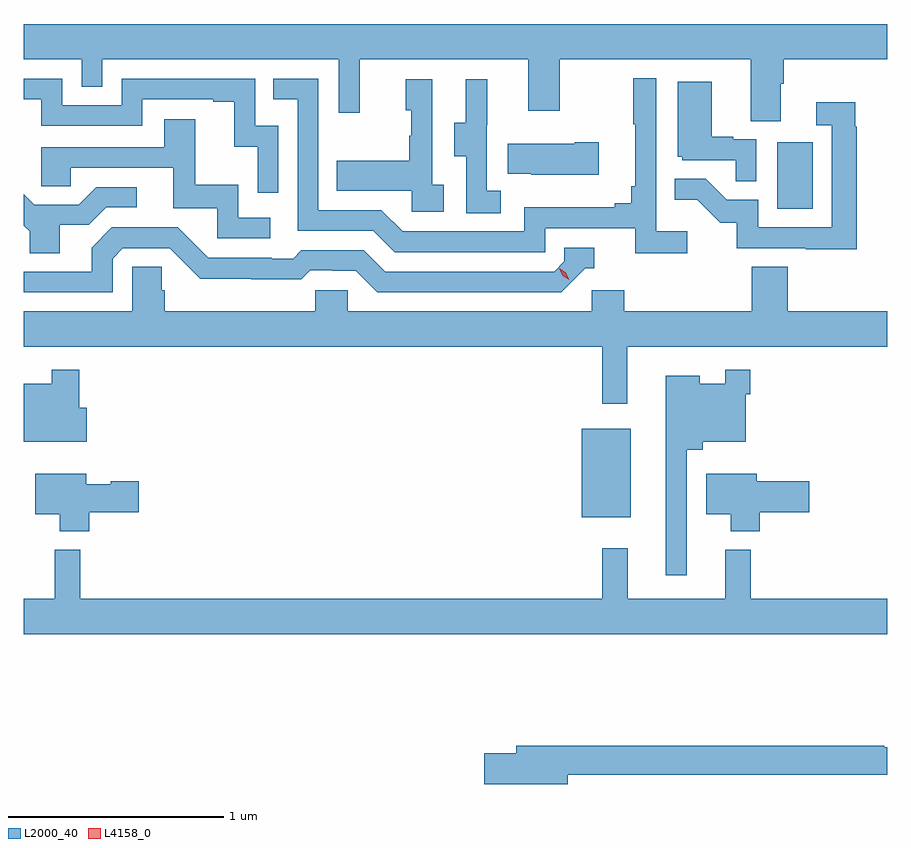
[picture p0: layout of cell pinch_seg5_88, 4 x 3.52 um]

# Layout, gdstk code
import gdstk
lib = gdstk.Library(unit=1e-6, precision=1e-09)
def R(c, l, rs):  # rectangles x0, y0, x1, y1
    for r in rs: c.add(gdstk.rectangle(r[:2], r[2:], *l))
def P(c, l, *ps):  # polygons
    for p in ps: c.add(gdstk.Polygon(p, *l))
L2000_40 = (2000, 40)
L4158_0 = (4158, 0)

pinch_seg5_88 = lib.new_cell('pinch_seg5_88')
R(pinch_seg5_88, L2000_40, [(1050.458,897.263,1050.685,897.673), (1051.364,898.692,1051.528,898.999)])
P(pinch_seg5_88, L2000_40, [(1051.381,899.272),(1051.394,899.272),(1051.394,899.384),(1051.873,899.384),(1051.873,899.548),(1047.873,899.548),(1047.873,899.384),(1048.14,899.384),(1048.14,899.257),(1048.236,899.257),(1048.236,899.384),(1049.331,899.384),(1049.331,899.136),(1049.429,899.136),(1049.429,899.384),(1050.209,899.384),(1050.209,899.145),(1050.357,899.145),(1050.357,899.384),(1051.241,899.384),(1051.241,899.098),(1051.381,899.098)],
  [(1050.946,898.588),(1050.804,898.588),(1050.804,899.296),(1050.696,899.296),(1050.696,899.083),(1050.707,899.083),(1050.707,898.795),(1050.688,898.795),(1050.688,898.718),(1050.611,898.718),(1050.611,898.699),(1050.192,898.699),(1050.192,898.587),(1049.628,898.587),(1049.529,898.686),(1049.238,898.686),(1049.238,899.295),(1049.029,899.295),(1049.029,899.199),(1049.142,899.199),(1049.142,898.59),(1049.492,898.59),(1049.591,898.491),(1050.288,898.491),(1050.288,898.602),(1050.707,898.602),(1050.707,898.486),(1050.946,898.486)],
  [(1049.052,899.076),(1048.944,899.076),(1048.944,899.295),(1048.326,899.295),(1048.326,899.172),(1048.05,899.172),(1048.05,899.295),(1047.873,899.295),(1047.873,899.199),(1047.954,899.199),(1047.954,899.076),(1048.422,899.076),(1048.422,899.199),(1048.751,899.199),(1048.751,899.187),(1048.847,899.187),(1048.847,898.979),(1048.956,898.979),(1048.956,898.767),(1049.052,898.767)],
  [(1049.818,898.802),(1049.766,898.802),(1049.766,899.293),(1049.642,899.293),(1049.642,899.148),(1049.668,899.148),(1049.668,899.03),(1049.658,899.03),(1049.658,898.915),(1049.323,898.915),(1049.323,898.775),(1049.67,898.775),(1049.67,898.677),(1049.818,898.677)],
  [(1050.082,898.775),(1050.018,898.775),(1050.018,899.079),(1050.02,899.079),(1050.02,899.293),(1049.921,899.293),(1049.921,899.091),(1049.867,899.091),(1049.867,898.936),(1049.922,898.936),(1049.922,898.672),(1050.082,898.672)],
  [(1051.266,899.013),(1051.16,899.013),(1051.16,899.026),(1051.06,899.026),(1051.06,899.281),(1050.902,899.281),(1050.902,898.932),(1050.924,898.932),(1050.924,898.917),(1051.171,898.917),(1051.171,898.819),(1051.266,898.819)],
  [(1051.733,899.072),(1051.726,899.072),(1051.726,899.185),(1051.545,899.185),(1051.545,899.079),(1051.617,899.079),(1051.617,898.605),(1051.275,898.605),(1051.275,898.734),(1051.131,898.734),(1051.033,898.832),(1050.889,898.832),(1050.889,898.733),(1050.993,898.733),(1051.1,898.626),(1051.177,898.626),(1051.177,898.509),(1051.495,898.509),(1051.495,898.504),(1051.733,898.504)],
  [(1049.014,898.65),(1048.866,898.65),(1048.866,898.804),(1048.667,898.804),(1048.667,899.107),(1048.523,899.107),(1048.523,898.977),(1047.954,898.977),(1047.954,898.797),(1048.091,898.797),(1048.091,898.881),(1048.565,898.881),(1048.565,898.695),(1048.77,898.695),(1048.77,898.554),(1049.014,898.554)],
  [(1050.538,899.001),(1050.425,899.001),(1050.425,898.993),(1050.115,898.993),(1050.115,898.853),(1050.223,898.853),(1050.223,898.85),(1050.538,898.85)],
  [(1048.039,898.618),(1048.174,898.618),(1048.254,898.698),(1048.396,898.698),(1048.396,898.791),(1048.208,898.791),(1048.127,898.71),(1047.921,898.71),(1047.873,898.758),(1047.873,898.614),(1047.899,898.588),(1047.899,898.486),(1048.039,898.486)],
  [(1048.284,898.461),(1048.332,898.509),(1048.548,898.509),(1048.69,898.367),(1048.926,898.367),(1048.926,898.365),(1049.159,898.365),(1049.201,898.407),(1049.304,898.407),(1049.304,898.404),(1049.411,898.404),(1049.51,898.305),(1050.363,898.305),(1050.474,898.416),(1050.517,898.416),(1050.517,898.512),(1050.378,898.512),(1050.378,898.449),(1050.33,898.401),(1049.547,898.401),(1049.448,898.5),(1049.159,898.5),(1049.12,898.461),(1049.021,898.461),(1049.021,898.464),(1048.728,898.464),(1048.587,898.605),(1048.281,898.605),(1048.187,898.511),(1048.187,898.401),(1047.873,898.401),(1047.873,898.305),(1048.284,898.305)],
  [(1050.67,898.052),(1051.873,898.052),(1051.873,898.216),(1051.412,898.216),(1051.412,898.424),(1051.247,898.424),(1051.247,898.216),(1050.656,898.216),(1050.656,898.314),(1050.504,898.314),(1050.504,898.216),(1049.373,898.216),(1049.373,898.314),(1049.223,898.314),(1049.223,898.216),(1048.526,898.216),(1048.526,898.314),(1048.511,898.314),(1048.511,898.424),(1048.374,898.424),(1048.374,898.216),(1047.873,898.216),(1047.873,898.052),(1050.553,898.052),(1050.553,897.789),(1050.67,897.789)],
  [(1048.165,897.769),(1048.13,897.769),(1048.13,897.946),(1048.002,897.946),(1048.002,897.88),(1047.873,897.88),(1047.873,897.611),(1048.165,897.611)],
  [(1050.945,897.575),(1051.019,897.575),(1051.019,897.611),(1051.218,897.611),(1051.218,897.833),(1051.238,897.833),(1051.238,897.946),(1051.122,897.946),(1051.122,897.88),(1051.006,897.88),(1051.006,897.919),(1050.848,897.919),(1050.848,896.994),(1050.945,896.994)],
  [(1051.283,897.286),(1051.513,897.286),(1051.513,897.428),(1051.27,897.428),(1051.27,897.463),(1051.034,897.463),(1051.034,897.275),(1051.148,897.275),(1051.148,897.197),(1051.283,897.197)],
  [(1048.175,897.286),(1048.405,897.286),(1048.405,897.428),(1048.275,897.428),(1048.275,897.415),(1048.162,897.415),(1048.162,897.463),(1047.926,897.463),(1047.926,897.275),(1048.04,897.275),(1048.04,897.197),(1048.175,897.197)],
  [(1051.873,896.884),(1051.241,896.884),(1051.241,897.112),(1051.124,897.112),(1051.124,896.884),(1050.671,896.884),(1050.671,897.118),(1050.553,897.118),(1050.553,896.884),(1048.133,896.884),(1048.133,897.112),(1048.016,897.112),(1048.016,896.884),(1047.873,896.884),(1047.873,896.72),(1051.873,896.72)],
  [(1050.394,896.068),(1051.873,896.068),(1051.873,896.197),(1051.859,896.197),(1051.859,896.204),(1050.155,896.204),(1050.155,896.168),(1050.006,896.168),(1050.006,896.026),(1050.394,896.026)])
P(pinch_seg5_88, L4158_0, [(1050.4,898.362),(1050.37,898.382),(1050.354,898.415),(1050.354,898.415),(1050.354,898.415),(1050.385,898.395),(1050.401,898.363),(1050.401,898.362)])

lib.write_gds('pinch_seg5_88.gds')
